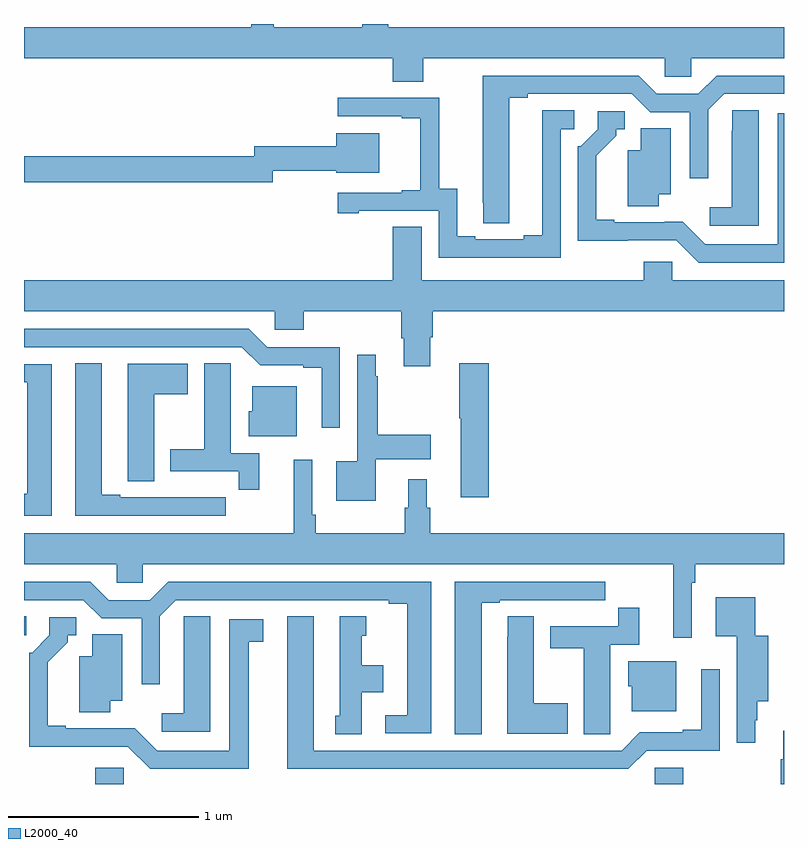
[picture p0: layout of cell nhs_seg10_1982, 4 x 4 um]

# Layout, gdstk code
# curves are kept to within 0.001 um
import gdstk
lib = gdstk.Library(unit=1e-6, precision=1e-09)
def R(c, l, rs):  # rectangles x0, y0, x1, y1
    for r in rs: c.add(gdstk.rectangle(r[:2], r[2:], *l))
def P(c, l, *ps):  # polygons
    for p in ps: c.add(gdstk.Polygon(p, *l))
L2000_40 = (2000, 40)

nhs_seg10_1982 = lib.new_cell('nhs_seg10_1982')
R(nhs_seg10_1982, L2000_40, [(215.375,1292.5,215.526,1292.586), (218.319,1292.5,218.471,1292.586), (215,1293.282,215.011,1293.383)])
P(nhs_seg10_1982, L2000_40, [(217.101,1296.32),(218.373,1296.32),(218.373,1296.222),(218.511,1296.222),(218.511,1296.32),(219,1296.32),(219,1296.484),(216.917,1296.484),(216.917,1296.5),(216.781,1296.5),(216.781,1296.484),(216.314,1296.484),(216.314,1296.5),(216.197,1296.5),(216.197,1296.484),(215,1296.484),(215,1296.32),(216.941,1296.32),(216.941,1296.196),(217.101,1296.196)],
  [(217.555,1296.112),(217.651,1296.112),(217.651,1296.132),(218.199,1296.132),(218.295,1296.036),(218.505,1296.036),(218.505,1295.688),(218.601,1295.688),(218.601,1296.048),(218.685,1296.132),(219,1296.132),(219,1296.228),(218.645,1296.228),(218.549,1296.132),(218.331,1296.132),(218.235,1296.228),(217.415,1296.228),(217.416,1295.452),(217.555,1295.452)],
  [(217.824,1295.946),(217.897,1295.946),(217.897,1296.047),(217.727,1296.047),(217.727,1295.387),(217.631,1295.387),(217.631,1295.367),(217.375,1295.367),(217.375,1295.382),(217.279,1295.382),(217.279,1295.633),(217.185,1295.633),(217.185,1296.111),(216.651,1296.111),(216.651,1296.015),(216.989,1296.015),(216.989,1296.003),(217.085,1296.003),(217.085,1295.626),(216.989,1295.626),(216.989,1295.613),(216.651,1295.613),(216.651,1295.505),(216.763,1295.505),(216.763,1295.517),(217.182,1295.517),(217.182,1295.271),(217.824,1295.271)],
  [(218.866,1296.047),(218.727,1296.047),(218.727,1295.939),(218.726,1295.939),(218.726,1295.536),(218.61,1295.536),(218.61,1295.439),(218.866,1295.439)],
  [(219,1296.03),(218.966,1296.03),(218.966,1295.34),(218.586,1295.34),(218.468,1295.458),(218.107,1295.457),(218.107,1295.47),(218.011,1295.47),(218.011,1295.806),(218.116,1295.911),(218.116,1295.946),(218.161,1295.946),(218.161,1296.042),(218.019,1296.042),(218.019,1295.946),(217.929,1295.856),(217.914,1295.856),(217.914,1295.36),(218.433,1295.361),(218.55,1295.244),(219,1295.244)],
  [(218.341,1295.603),(218.404,1295.603),(218.404,1295.951),(218.246,1295.951),(218.246,1295.836),(218.177,1295.836),(218.177,1295.542),(218.341,1295.542)],
  [(216.309,1295.728),(216.644,1295.728),(216.644,1295.717),(216.871,1295.717),(216.871,1295.926),(216.644,1295.926),(216.644,1295.857),(216.213,1295.857),(216.213,1295.804),(215,1295.804),(215,1295.668),(216.309,1295.668)],
  [(216.941,1295.432),(216.941,1295.152),(215,1295.152),(215,1294.988),(216.321,1294.988),(216.321,1294.89),(216.473,1294.89),(216.473,1294.988),(216.986,1294.988),(216.986,1294.846),(216.998,1294.846),(216.998,1294.698),(217.138,1294.698),(217.138,1294.851),(217.151,1294.851),(217.151,1294.988),(219,1294.988),(219,1295.152),(218.412,1295.152),(218.412,1295.25),(218.261,1295.25),(218.261,1295.152),(217.093,1295.152),(217.093,1295.432)],
  [(216.663,1294.8),(216.279,1294.8),(216.183,1294.896),(215,1294.896),(215,1294.8),(216.147,1294.8),(216.243,1294.704),(216.47,1294.704),(216.47,1294.692),(216.566,1294.692),(216.566,1294.374),(216.663,1294.374)],
  [(216.85,1294.208),(217.141,1294.208),(217.141,1294.338),(216.862,1294.338),(216.862,1294.646),(216.85,1294.646),(216.85,1294.759),(216.753,1294.759),(216.753,1294.198),(216.644,1294.198),(216.644,1293.992),(216.85,1293.992)],
  [(216.061,1294.008),(215.948,1294.008),(215.948,1294.009),(215.782,1294.009),(215.782,1294.008),(215.506,1294.008),(215.506,1294.023),(215.41,1294.023),(215.41,1294.715),(215.27,1294.715),(215.27,1293.912),(216.061,1293.912)],
  [(216.239,1294.242),(216.088,1294.242),(216.088,1294.604),(216.087,1294.604),(216.087,1294.715),(215.948,1294.715),(215.948,1294.263),(215.771,1294.263),(215.771,1294.146),(216.13,1294.146),(216.13,1294.05),(216.239,1294.05)],
  [(217.445,1294.714),(217.291,1294.714),(217.291,1294.426),(217.298,1294.426),(217.298,1294.008),(217.445,1294.008)],
  [(215.686,1294.552),(215.863,1294.552),(215.863,1294.711),(215.546,1294.711),(215.546,1294.201),(215.547,1294.201),(215.547,1294.093),(215.686,1294.093)],
  [(215.146,1294.71),(215,1294.71),(215,1294.614),(215.018,1294.614),(215.018,1294.028),(215,1294.028),(215,1293.912),(215.146,1293.912)],
  [(216.436,1294.594),(216.2,1294.594),(216.2,1294.461),(216.182,1294.461),(216.182,1294.331),(216.436,1294.331)],
  [(218.514,1293.56),(218.534,1293.56),(218.534,1293.656),(219,1293.656),(219,1293.82),(217.139,1293.82),(217.139,1293.954),(217.12,1293.954),(217.12,1294.105),(217.022,1294.105),(217.022,1293.954),(217.003,1293.954),(217.003,1293.82),(216.536,1293.82),(216.536,1293.916),(216.516,1293.916),(216.516,1294.207),(216.419,1294.207),(216.419,1293.82),(215,1293.82),(215,1293.656),(215.487,1293.656),(215.487,1293.558),(215.625,1293.558),(215.625,1293.656),(218.417,1293.656),(218.417,1293.27),(218.514,1293.27)],
  [(217.408,1293.453),(217.504,1293.453),(217.504,1293.468),(217.78,1293.468),(217.78,1293.467),(217.946,1293.467),(217.946,1293.468),(218.059,1293.468),(218.059,1293.564),(217.268,1293.564),(217.268,1292.761),(217.408,1292.761)],
  [(217.144,1293.564),(215.759,1293.564),(215.663,1293.468),(215.445,1293.468),(215.349,1293.564),(215,1293.564),(215,1293.468),(215.313,1293.468),(215.409,1293.372),(215.619,1293.372),(215.619,1293.024),(215.715,1293.024),(215.715,1293.384),(215.799,1293.468),(216.92,1293.468),(216.92,1293.448),(217.016,1293.448),(217.016,1292.862),(216.9,1292.862),(216.9,1292.766),(217.144,1292.766)],
  [(218.848,1292.835),(218.86,1292.835),(218.86,1292.936),(218.916,1292.936),(218.916,1293.28),(218.848,1293.28),(218.848,1293.484),(218.642,1293.484),(218.642,1293.278),(218.75,1293.278),(218.75,1293.04),(218.751,1293.04),(218.751,1292.718),(218.848,1292.718)],
  [(218.085,1292.872),(218.086,1292.872),(218.086,1293.234),(218.237,1293.234),(218.237,1293.427),(218.128,1293.427),(218.128,1293.33),(217.769,1293.33),(217.769,1293.214),(217.946,1293.214),(217.946,1292.761),(218.085,1292.761)],
  [(215.98,1293.383),(215.841,1293.383),(215.841,1293.275),(215.84,1293.275),(215.84,1292.872),(215.724,1292.872),(215.724,1292.775),(215.98,1292.775)],
  [(217.861,1292.925),(217.684,1292.925),(217.684,1293.383),(217.545,1293.383),(217.545,1293.275),(217.544,1293.275),(217.544,1292.765),(217.861,1292.765)],
  [(218.277,1292.676),(218.661,1292.676),(218.661,1293.103),(218.564,1293.103),(218.564,1292.785),(218.468,1292.785),(218.468,1292.772),(218.241,1292.772),(218.145,1292.676),(216.526,1292.676),(216.526,1293.382),(216.386,1293.382),(216.386,1292.58),(218.181,1292.58)],
  [(216.778,1292.984),(216.892,1292.984),(216.892,1293.124),(216.778,1293.124),(216.778,1293.279),(216.802,1293.279),(216.802,1293.382),(216.662,1293.382),(216.662,1292.859),(216.638,1292.859),(216.638,1292.761),(216.778,1292.761)],
  [(216.184,1293.25),(216.259,1293.25),(216.259,1293.366),(216.08,1293.366),(216.08,1292.676),(215.7,1292.676),(215.582,1292.794),(215.221,1292.793),(215.221,1292.806),(215.125,1292.806),(215.125,1293.142),(215.23,1293.247),(215.23,1293.282),(215.275,1293.282),(215.275,1293.378),(215.133,1293.378),(215.133,1293.282),(215.043,1293.192),(215.028,1293.192),(215.028,1292.696),(215.547,1292.697),(215.664,1292.58),(216.184,1292.58)],
  [(215.455,1292.939),(215.518,1292.939),(215.518,1293.287),(215.36,1293.287),(215.36,1293.172),(215.291,1293.172),(215.291,1292.878),(215.455,1292.878)],
  [(218.434,1293.145),(218.18,1293.145),(218.18,1293.015),(218.198,1293.015),(218.198,1292.882),(218.434,1292.882)],
  [(219,1292.779),(218.996,1292.779),(218.996,1292.63),(218.984,1292.63),(218.984,1292.5),(219,1292.5)])

lib.write_gds('nhs_seg10_1982.gds')
